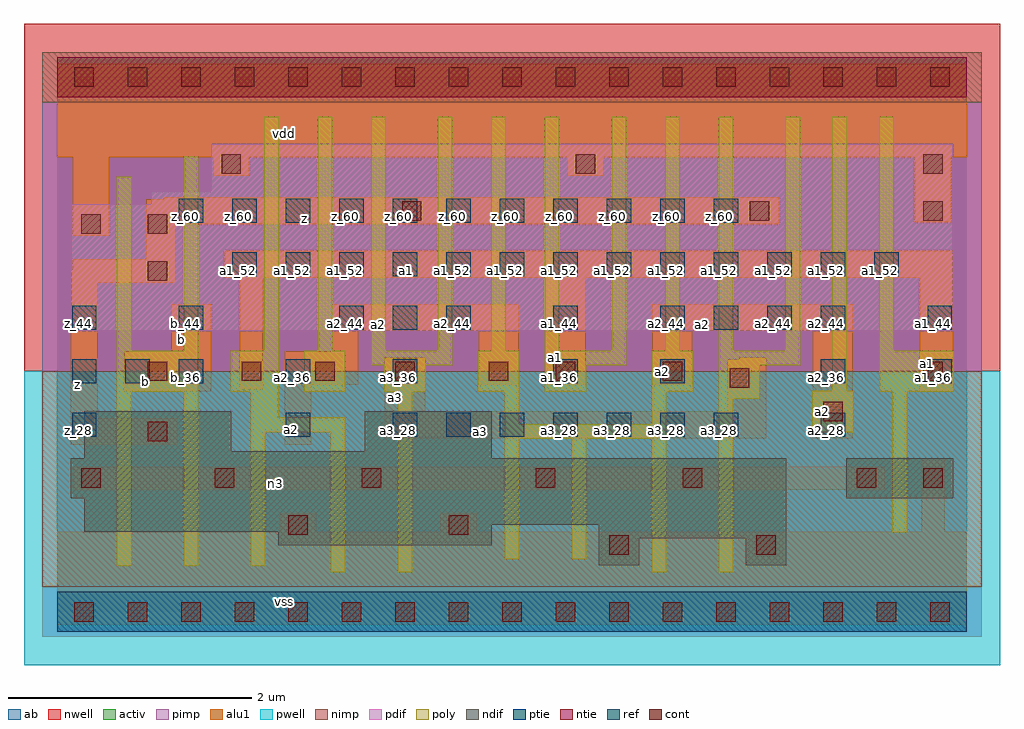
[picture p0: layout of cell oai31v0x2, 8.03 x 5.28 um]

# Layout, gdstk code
import gdstk
lib = gdstk.Library(unit=1e-6, precision=2.5e-09)
def R(c, l, rs):  # rectangles x0, y0, x1, y1
    for r in rs: c.add(gdstk.rectangle(r[:2], r[2:], *l))
def A(c, l, x, y, w, h, nx, ny, dx, dy):  # array of equal rectangles
    R(c, l, [(x+i*dx, y+j*dy, x+i*dx+w, y+j*dy+h) for i in range(nx) for j in range(ny)])
ndif = (3, 0)
pdif = (4, 0)
ntie = (5, 0)
ptie = (6, 0)
ref = (24, 0)
cont = (25, 0)
pwell = (41, 0)
nwell = (42, 0)
activ = (43, 0)
pimp = (44, 0)
nimp = (45, 0)
poly = (46, 0)
alu1 = (49, 0)
ab = (63, 0)

oai31v0x2 = lib.new_cell('oai31v0x2')
R(oai31v0x2, ndif, [(4.455,0.385,4.785,0.605), (5.665,0.385,5.995,0.605), (1.815,0.55,3.575,0.66), (4.455,0.605,5.995,0.715), (0.22,0.66,3.575,0.715), (0.22,0.715,5.995,0.935), (0.11,0.935,5.995,1.265), (6.49,0.935,7.37,1.265), (0.22,1.265,3.575,1.32), (0.22,1.32,1.43,1.65), (2.53,1.32,3.575,1.65)])
R(oai31v0x2, pdif, [(0.11,2.31,7.37,3.355), (0.77,3.355,7.37,3.465), (1.265,3.465,7.37,3.85)])
R(oai31v0x2, ntie, [(0,4.235,7.48,4.565)])
R(oai31v0x2, ptie, [(0,-0.165,7.48,0.165)])
A(oai31v0x2, ref, 2.76, 1.44, 0.2, 0.2, 7, 1, 0.44, 0)
A(oai31v0x2, ref, 0.12, 1.88, 0.2, 0.2, 3, 1, 0.44, 0)
A(oai31v0x2, ref, 2.32, 2.32, 0.2, 0.2, 3, 1, 0.44, 0)
A(oai31v0x2, ref, 4.96, 2.32, 0.2, 0.2, 4, 1, 0.44, 0)
A(oai31v0x2, ref, 1.44, 2.76, 0.2, 0.2, 13, 1, 0.44, 0)
A(oai31v0x2, ref, 1, 3.2, 0.2, 0.2, 11, 1, 0.44, 0)
R(oai31v0x2, ref, [(0.12,1.44,0.32,1.64), (1.88,1.44,2.08,1.64), (6.28,1.44,6.48,1.64), (1.88,1.88,2.08,2.08), (2.76,1.88,2.96,2.08), (4.08,1.88,4.28,2.08), (4.96,1.88,5.16,2.08), (6.28,1.88,6.48,2.08), (7.16,1.88,7.36,2.08), (0.12,2.32,0.32,2.52), (1,2.32,1.2,2.52), (4.08,2.32,4.28,2.52), (7.16,2.32,7.36,2.52)])
A(oai31v0x2, cont, 0.14, -0.08, 0.16, 0.16, 17, 2, 0.44, 4.4)
R(oai31v0x2, cont, [(4.54,0.47,4.7,0.63), (5.75,0.47,5.91,0.63), (1.9,0.635,2.06,0.795), (3.22,0.635,3.38,0.795), (0.195,1.02,0.355,1.18), (1.295,1.02,1.455,1.18), (2.505,1.02,2.665,1.18), (3.935,1.02,4.095,1.18), (5.145,1.02,5.305,1.18), (6.575,1.02,6.735,1.18), (7.125,1.02,7.285,1.18), (0.745,1.405,0.905,1.565), (6.3,1.57,6.46,1.73), (5.53,1.845,5.69,2.005), (0.745,1.9,0.905,2.06), (1.515,1.9,1.675,2.06), (2.12,1.9,2.28,2.06), (2.78,1.9,2.94,2.06), (3.55,1.9,3.71,2.06), (4.1,1.9,4.26,2.06), (4.98,1.9,5.14,2.06), (7.125,1.9,7.285,2.06), (0.745,2.725,0.905,2.885), (0.195,3.11,0.355,3.27), (0.745,3.11,0.905,3.27), (2.835,3.22,2.995,3.38), (5.695,3.22,5.855,3.38), (7.125,3.22,7.285,3.38), (1.35,3.605,1.51,3.765), (4.265,3.605,4.425,3.765), (7.125,3.605,7.285,3.765)])
R(oai31v0x2, pwell, [(-0.275,-0.44,7.755,1.98)])
R(oai31v0x2, nwell, [(-0.275,1.98,7.755,4.84)])
R(oai31v0x2, activ, [(0,-0.165,7.48,0.165), (4.455,0.385,4.785,0.605), (5.665,0.385,5.995,0.605), (1.815,0.55,3.575,0.66), (4.455,0.605,5.995,0.715), (0.22,0.66,3.575,0.715), (0.22,0.715,5.995,0.935), (0.11,0.935,5.995,1.265), (6.49,0.935,7.37,1.265), (0.22,1.265,3.575,1.32), (0.22,1.32,1.43,1.65), (2.53,1.32,3.575,1.65), (0.11,2.31,7.37,3.355), (0.77,3.355,7.37,3.465), (1.265,3.465,7.37,3.85), (0,4.235,7.48,4.565)])
R(oai31v0x2, pimp, [(-0.125,-0.205,7.605,0.205), (-0.125,1.98,7.605,4.195)])
R(oai31v0x2, nimp, [(-0.125,0.205,7.605,1.98), (-0.125,4.195,7.605,4.605)])
A(oai31v0x2, poly, 2.03, 1.81, 0.34, 0.34, 3, 1, 1.43, 0)
A(oai31v0x2, poly, 2.58, 2.03, 0.67, 0.12, 3, 1, 1.43, 0)
A(oai31v0x2, poly, 1.7, 2.15, 0.12, 1.925, 3, 1, 0.44, 0)
A(oai31v0x2, poly, 3.13, 2.15, 0.12, 1.925, 3, 1, 0.44, 0)
A(oai31v0x2, poly, 4.56, 2.15, 0.12, 1.925, 3, 1, 0.44, 0)
R(oai31v0x2, poly, [(2.25,0.325,2.37,1.48), (2.8,0.325,2.92,1.81), (4.89,0.325,5.01,1.425), (5.44,0.325,5.56,1.755), (0.49,0.38,0.61,1.81), (1.04,0.38,1.16,1.81), (1.59,0.38,1.71,1.48), (3.68,0.435,3.8,1.425), (4.23,0.435,4.35,1.425), (6.87,0.655,6.99,1.81), (3.68,1.425,5.01,1.545), (1.59,1.48,2.37,1.6), (6.21,1.48,6.55,1.82), (3.68,1.545,3.8,1.81), (4.89,1.545,5.01,1.81), (1.59,1.6,1.82,1.81), (5.44,1.755,5.78,2.03), (0.49,1.81,1.16,2.15), (1.425,1.81,1.82,2.15), (2.69,1.81,3.03,2.03), (4.01,1.81,4.35,2.03), (6.76,1.81,7.375,2.15), (6.375,1.82,6.495,4.075), (0.49,2.15,0.61,3.58), (1.04,2.15,1.16,3.745), (5.99,2.15,6.11,4.075), (6.76,2.15,6.88,4.075)])
R(oai31v0x2, alu1, [(0,-0.11,7.48,0.66), (1.83,0.66,2.13,0.81), (3.15,0.66,3.45,0.81), (7.11,0.66,7.3,1.25), (0.125,1.005,6.805,1.195), (0.11,1.375,0.99,1.595), (1.87,1.375,2.09,1.87), (2.695,1.43,5.83,1.65), (6.215,1.43,6.545,2.31), (0.11,1.595,0.33,2.71), (2.695,1.65,3.025,2.09), (5.515,1.65,5.83,2.075), (0.55,1.815,1.265,2.145), (7.095,1.815,7.37,2.75), (1.5,1.83,1.69,2.75), (1.87,1.87,2.475,2.145), (3.465,1.87,3.795,2.31), (4.015,1.87,4.345,2.75), (4.895,1.87,5.225,2.31), (5.61,2.075,5.83,2.09), (0.935,2.145,1.265,2.53), (2.255,2.145,2.475,2.31), (2.255,2.31,3.795,2.53), (4.895,2.31,6.545,2.53), (0.11,2.71,0.975,2.805), (1.375,2.75,7.37,2.97), (0.125,2.805,0.975,2.9), (0.73,2.9,0.975,3.19), (0.125,3.095,0.425,3.74), (0.73,3.19,5.94,3.395), (7.055,3.205,7.355,3.74), (0.88,3.395,5.94,3.41), (1.28,3.59,1.58,3.74), (4.195,3.59,4.495,3.74), (0,3.74,7.48,4.51)])
R(oai31v0x2, ab, [(0,0,7.48,4.4)])
oai31v0x2.add(gdstk.Label('vss', (1.87,0.0825), layer=49, texttype=0))
oai31v0x2.add(gdstk.Label('n3', (1.795,1.0525), layer=49, texttype=0))
oai31v0x2.add(gdstk.Label('a1', (7.1625,2.0475), layer=49, texttype=0))
oai31v0x2.add(gdstk.Label('a2', (6.2975,1.65), layer=49, texttype=0))
oai31v0x2.add(gdstk.Label('a3', (3.4775,1.485), layer=49, texttype=0))
oai31v0x2.add(gdstk.Label('a2', (4.9775,1.98), layer=49, texttype=0))
oai31v0x2.add(gdstk.Label('a2', (5.3075,2.365), layer=49, texttype=0))
oai31v0x2.add(gdstk.Label('a1', (4.0975,2.09), layer=49, texttype=0))
oai31v0x2.add(gdstk.Label('a3', (2.7775,1.76), layer=49, texttype=0))
oai31v0x2.add(gdstk.Label('a2', (1.925,1.4975), layer=49, texttype=0))
oai31v0x2.add(gdstk.Label('a2', (2.64,2.365), layer=49, texttype=0))
oai31v0x2.add(gdstk.Label('b', (0.7275,1.8975), layer=49, texttype=0))
oai31v0x2.add(gdstk.Label('b', (1.0175,2.24), layer=49, texttype=0))
oai31v0x2.add(gdstk.Label('z', (0.165,1.8725), layer=49, texttype=0))
oai31v0x2.add(gdstk.Label('a1', (2.8725,2.805), layer=49, texttype=0))
oai31v0x2.add(gdstk.Label('z', (2.0325,3.24), layer=49, texttype=0))
oai31v0x2.add(gdstk.Label('vdd', (1.87,3.9325), layer=49, texttype=0))
oai31v0x2.add(gdstk.Label('a3_28', (5.45,1.49), layer=24, texttype=0))
oai31v0x2.add(gdstk.Label('a2_44', (5.45,2.37), layer=24, texttype=0))
oai31v0x2.add(gdstk.Label('a1_52', (5.45,2.81), layer=24, texttype=0))
oai31v0x2.add(gdstk.Label('z_60', (5.45,3.25), layer=24, texttype=0))
oai31v0x2.add(gdstk.Label('a2_44', (5.89,2.37), layer=24, texttype=0))
oai31v0x2.add(gdstk.Label('a1_52', (5.89,2.81), layer=24, texttype=0))
oai31v0x2.add(gdstk.Label('a2_28', (6.33,1.49), layer=24, texttype=0))
oai31v0x2.add(gdstk.Label('a2_36', (6.33,1.93), layer=24, texttype=0))
oai31v0x2.add(gdstk.Label('a2_44', (6.33,2.37), layer=24, texttype=0))
oai31v0x2.add(gdstk.Label('a1_52', (6.33,2.81), layer=24, texttype=0))
oai31v0x2.add(gdstk.Label('b_36', (0.61,1.93), layer=24, texttype=0))
oai31v0x2.add(gdstk.Label('a1_52', (6.77,2.81), layer=24, texttype=0))
oai31v0x2.add(gdstk.Label('a1_36', (7.21,1.93), layer=24, texttype=0))
oai31v0x2.add(gdstk.Label('a1_44', (7.21,2.37), layer=24, texttype=0))
oai31v0x2.add(gdstk.Label('b_36', (1.05,1.93), layer=24, texttype=0))
oai31v0x2.add(gdstk.Label('b_44', (1.05,2.37), layer=24, texttype=0))
oai31v0x2.add(gdstk.Label('z_60', (1.05,3.25), layer=24, texttype=0))
oai31v0x2.add(gdstk.Label('a1_52', (1.49,2.81), layer=24, texttype=0))
oai31v0x2.add(gdstk.Label('z_60', (1.49,3.25), layer=24, texttype=0))
oai31v0x2.add(gdstk.Label('a2_28', (1.93,1.49), layer=24, texttype=0))
oai31v0x2.add(gdstk.Label('a2_36', (1.93,1.93), layer=24, texttype=0))
oai31v0x2.add(gdstk.Label('a1_52', (1.93,2.81), layer=24, texttype=0))
oai31v0x2.add(gdstk.Label('z_60', (1.93,3.25), layer=24, texttype=0))
oai31v0x2.add(gdstk.Label('z_28', (0.17,1.49), layer=24, texttype=0))
oai31v0x2.add(gdstk.Label('z_36', (0.17,1.93), layer=24, texttype=0))
oai31v0x2.add(gdstk.Label('z_44', (0.17,2.37), layer=24, texttype=0))
oai31v0x2.add(gdstk.Label('a2_44', (2.37,2.37), layer=24, texttype=0))
oai31v0x2.add(gdstk.Label('a1_52', (2.37,2.81), layer=24, texttype=0))
oai31v0x2.add(gdstk.Label('z_60', (2.37,3.25), layer=24, texttype=0))
oai31v0x2.add(gdstk.Label('a3_28', (2.81,1.49), layer=24, texttype=0))
oai31v0x2.add(gdstk.Label('a3_36', (2.81,1.93), layer=24, texttype=0))
oai31v0x2.add(gdstk.Label('a2_44', (2.81,2.37), layer=24, texttype=0))
oai31v0x2.add(gdstk.Label('a1_52', (2.81,2.81), layer=24, texttype=0))
oai31v0x2.add(gdstk.Label('z_60', (2.81,3.25), layer=24, texttype=0))
oai31v0x2.add(gdstk.Label('a3_28', (3.25,1.49), layer=24, texttype=0))
oai31v0x2.add(gdstk.Label('a2_44', (3.25,2.37), layer=24, texttype=0))
oai31v0x2.add(gdstk.Label('a1_52', (3.25,2.81), layer=24, texttype=0))
oai31v0x2.add(gdstk.Label('z_60', (3.25,3.25), layer=24, texttype=0))
oai31v0x2.add(gdstk.Label('a3_28', (3.69,1.49), layer=24, texttype=0))
oai31v0x2.add(gdstk.Label('a1_52', (3.69,2.81), layer=24, texttype=0))
oai31v0x2.add(gdstk.Label('z_60', (3.69,3.25), layer=24, texttype=0))
oai31v0x2.add(gdstk.Label('a3_28', (4.13,1.49), layer=24, texttype=0))
oai31v0x2.add(gdstk.Label('a1_36', (4.13,1.93), layer=24, texttype=0))
oai31v0x2.add(gdstk.Label('a1_44', (4.13,2.37), layer=24, texttype=0))
oai31v0x2.add(gdstk.Label('a1_52', (4.13,2.81), layer=24, texttype=0))
oai31v0x2.add(gdstk.Label('z_60', (4.13,3.25), layer=24, texttype=0))
oai31v0x2.add(gdstk.Label('a3_28', (4.57,1.49), layer=24, texttype=0))
oai31v0x2.add(gdstk.Label('a1_52', (4.57,2.81), layer=24, texttype=0))
oai31v0x2.add(gdstk.Label('z_60', (4.57,3.25), layer=24, texttype=0))
oai31v0x2.add(gdstk.Label('a3_28', (5.01,1.49), layer=24, texttype=0))
oai31v0x2.add(gdstk.Label('a2_36', (5.01,1.93), layer=24, texttype=0))
oai31v0x2.add(gdstk.Label('a2_44', (5.01,2.37), layer=24, texttype=0))
oai31v0x2.add(gdstk.Label('a1_52', (5.01,2.81), layer=24, texttype=0))
oai31v0x2.add(gdstk.Label('z_60', (5.01,3.25), layer=24, texttype=0))

lib.write_gds('oai31v0x2.gds')
